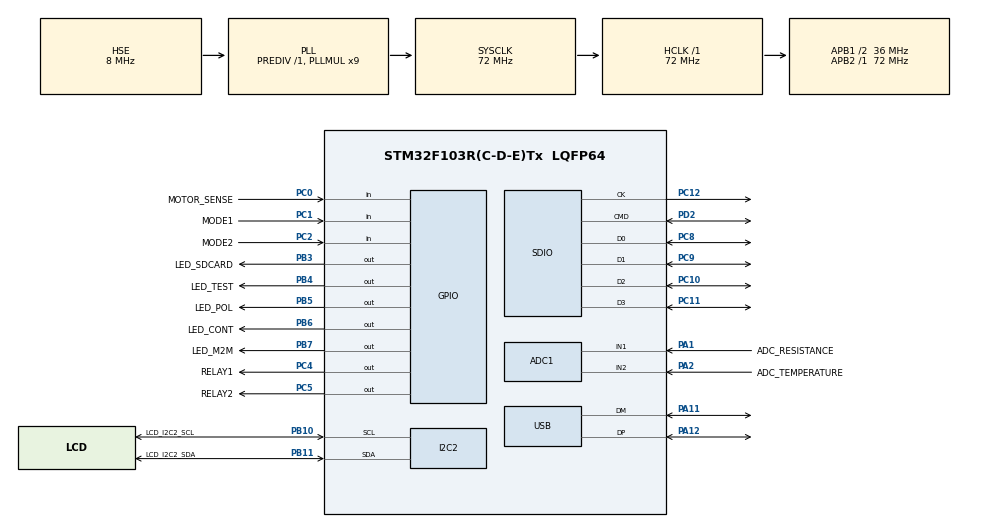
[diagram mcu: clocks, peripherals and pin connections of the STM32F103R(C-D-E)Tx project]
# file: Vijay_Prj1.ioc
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ADC1.Channel-23\#ChannelRegularConversion=ADC_CHANNEL_1
ADC1.ContinuousConvMode=DISABLE
ADC1.DataAlign=ADC_DATAALIGN_RIGHT
ADC1.DiscontinuousConvMode=DISABLE
ADC1.EnableAnalogWatchDog=false
ADC1.EnableRegularConversion=ENABLE
ADC1.ExternalTrigConv=ADC_SOFTWARE_START
ADC1.InjNumberOfConversion=0
ADC1.NbrOfConversion=1
ADC1.NbrOfConversionFlag=1
ADC1.Rank-23\#ChannelRegularConversion=1
ADC1.SamplingTime-23\#ChannelRegularConversion=ADC_SAMPLETIME_1CYCLE_5
ADC1.ScanConvMode=ADC_SCAN_DISABLE
ADC1.master=1
Mcu.Family=STM32F1
Mcu.Name=STM32F103R(C-D-E)Tx
Mcu.Package=LQFP64
NVIC.ADC1_2_IRQn=true\:0\:0\:false\:false\:true\:true
NVIC.PriorityGroup=NVIC_PRIORITYGROUP_4
NVIC.RTC_IRQn=true\:0\:0\:false\:false\:true\:true
NVIC.TIM3_IRQn=true\:0\:0\:false\:false\:true\:true
NVIC.USB_LP_CAN1_RX0_IRQn=true\:0\:0\:false\:false\:true\:false
PA1.GPIO_Label=ADC_RESISTANCE
PA1.Signal=ADCx_IN1
PA11.Mode=Device
PA11.Signal=USB_DM
PA12.Mode=Device
PA12.Signal=USB_DP
PA13.Mode=Serial_Wire
PA13.Signal=SYS_JTMS-SWDIO
PA14.Mode=Serial_Wire
PA14.Signal=SYS_JTCK-SWCLK
PA2.GPIO_Label=ADC_TEMPERATURE
PA2.Signal=ADCx_IN2
PB10.GPIO_Label=LCD_I2C2_SCL
PB10.Mode=I2C
PB10.Signal=I2C2_SCL
PB11.GPIO_Label=LCD_I2C2_SDA
PB11.Mode=I2C
PB11.Signal=I2C2_SDA
PB3.GPIO_Label=LED_SDCARD
PB3.GPIO_PuPd=GPIO_PULLDOWN
PB3.Signal=GPIO_Output
PB4.GPIO_Label=LED_TEST
PB4.GPIO_PuPd=GPIO_PULLDOWN
PB4.Signal=GPIO_Output
PB5.GPIO_Label=LED_POL
PB5.GPIO_PuPd=GPIO_PULLDOWN
PB5.Signal=GPIO_Output
PB6.GPIO_Label=LED_CONT
PB6.GPIO_PuPd=GPIO_PULLDOWN
PB6.GPIO_Speed=GPIO_SPEED_FREQ_MEDIUM
PB6.Signal=GPIO_Output
PB7.GPIO_Label=LED_M2M
PB7.GPIO_PuPd=GPIO_PULLDOWN
PB7.GPIO_Speed=GPIO_SPEED_FREQ_MEDIUM
PB7.Signal=GPIO_Output
PC0.GPIO_Label=MOTOR_SENSE
PC0.Signal=GPIO_Input
PC1.GPIO_Label=MODE1
PC1.Signal=GPIO_Input
PC10.Mode=SD_4_bits_Wide_bus
PC10.Signal=SDIO_D2
PC11.Mode=SD_4_bits_Wide_bus
PC11.Signal=SDIO_D3
PC12.Mode=SD_4_bits_Wide_bus
PC12.Signal=SDIO_CK
PC14-OSC32_IN.Mode=LSE-External-Oscillator
PC14-OSC32_IN.Signal=RCC_OSC32_IN
PC15-OSC32_OUT.Mode=LSE-External-Oscillator
PC15-OSC32_OUT.Signal=RCC_OSC32_OUT
PC2.GPIO_Label=MODE2
PC2.Signal=GPIO_Input
PC4.GPIO_Label=RELAY1
PC4.GPIO_PuPd=GPIO_PULLDOWN
PC4.GPIO_Speed=GPIO_SPEED_FREQ_MEDIUM
PC4.Signal=GPIO_Output
PC5.GPIO_Label=RELAY2
PC5.GPIO_PuPd=GPIO_PULLDOWN
PC5.GPIO_Speed=GPIO_SPEED_FREQ_MEDIUM
PC5.Signal=GPIO_Output
PC8.Mode=SD_4_bits_Wide_bus
PC8.Signal=SDIO_D0
PC9.Mode=SD_4_bits_Wide_bus
PC9.Signal=SDIO_D1
PD0-OSC_IN.Mode=HSE-External-Oscillator
PD0-OSC_IN.Signal=RCC_OSC_IN
PD1-OSC_OUT.Mode=HSE-External-Oscillator
PD1-OSC_OUT.Signal=RCC_OSC_OUT
PD2.Mode=SD_4_bits_Wide_bus
PD2.Signal=SDIO_CMD
ProjectManager.HeapSize=0x200
ProjectManager.StackSize=0x400
ProjectManager.TargetToolchain=MDK-ARM V5
RCC.ADCPresc=RCC_ADCPCLK2_DIV6
RCC.AHBFreq_Value=72000000
RCC.APB1CLKDivider=RCC_HCLK_DIV2
RCC.APB1Freq_Value=36000000
RCC.APB1TimFreq_Value=72000000
RCC.APB2Freq_Value=72000000
RCC.APB2TimFreq_Value=72000000
RCC.HCLKFreq_Value=72000000
RCC.PLLMUL=RCC_PLL_MUL9
RCC.RTCClockSelection=RCC_RTCCLKSOURCE_LSE
RCC.SYSCLKFreq_VALUE=72000000
RCC.SYSCLKSource=RCC_SYSCLKSOURCE_PLLCLK
RCC.USBFreq_Value=48000000
RCC.USBPrescaler=RCC_USBCLKSOURCE_PLL_DIV1_5
RTC.Seconds=1
SDIO.ClockDiv=10
SH.ADCx_IN1.0=ADC1_IN1,IN1
SH.ADCx_IN2.0=ADC1_IN2,IN2
TIM2.Period=5000
TIM2.Prescaler=720-1
TIM3.Period=1000-1
TIM3.Prescaler=7200-1
USB_DEVICE.CLASS_NAME_FS=CDC
USB_DEVICE.VirtualMode=Cdc
USB_DEVICE.VirtualModeFS=Cdc_FS
VP_FATFS_VS_SDIO.Mode=SDIO
VP_RTC_No_RTC_Output.Mode=RTC_OUT_NO
VP_RTC_VS_RTC_Activate.Mode=RTC_Enabled
VP_TIM2_VS_ClockSourceINT.Mode=Internal
VP_TIM3_VS_ClockSourceINT.Mode=Internal
VP_USB_DEVICE_VS_USB_DEVICE_CDC_FS.Mode=CDC_FS
board=custom

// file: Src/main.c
/**
  ******************************************************************************
  * @file           : main.c
  * @brief          : Main program body
  ******************************************************************************
  * This notice applies to any and all portions of this file
  * that are not between comment pairs USER CODE BEGIN and
  * USER CODE END. Other portions of this file, whether
  * inserted by the user or by software development tools
  * are owned by their respective copyright owners.
  *
  * Copyright (c) 2019 STMicroelectronics International N.V.
  * All rights reserved.
  *
  * Redistribution and use in source and binary forms, with or without
  * modification, are permitted, provided that the following conditions are met:
  *
  * 1. Redistribution of source code must retain the above copyright notice,
  *    this list of conditions and the following disclaimer.
  * 2. Redistributions in binary form must reproduce the above copyright notice,
  *    this list of conditions and the following disclaimer in the documentation
  *    and/or other materials provided with the distribution.
  * 3. Neither the name of STMicroelectronics nor the names of other
  *    contributors to this software may be used to endorse or promote products
  *    derived from this software without specific written permission.
  * 4. This software, including modifications and/or derivative works of this
  *    software, must execute solely and exclusively on microcontroller or
  *    microprocessor devices manufactured by or for STMicroelectronics.
  * 5. Redistribution and use of this software other than as permitted under
  *    this license is void and will automatically terminate your rights under
  *    this license.
  *
  * THIS SOFTWARE IS PROVIDED BY STMICROELECTRONICS AND CONTRIBUTORS "AS IS"
  * AND ANY EXPRESS, IMPLIED OR STATUTORY WARRANTIES, INCLUDING, BUT NOT
  * LIMITED TO, THE IMPLIED WARRANTIES OF MERCHANTABILITY, FITNESS FOR A
  * PARTICULAR PURPOSE AND NON-INFRINGEMENT OF THIRD PARTY INTELLECTUAL PROPERTY
  * RIGHTS ARE DISCLAIMED TO THE FULLEST EXTENT PERMITTED BY LAW. IN NO EVENT
  * SHALL STMICROELECTRONICS OR CONTRIBUTORS BE LIABLE FOR ANY DIRECT, INDIRECT,
  * INCIDENTAL, SPECIAL, EXEMPLARY, OR CONSEQUENTIAL DAMAGES (INCLUDING, BUT NOT
  * LIMITED TO, PROCUREMENT OF SUBSTITUTE GOODS OR SERVICES; LOSS OF USE, DATA,
  * OR PROFITS; OR BUSINESS INTERRUPTION) HOWEVER CAUSED AND ON ANY THEORY OF
  * LIABILITY, WHETHER IN CONTRACT, STRICT LIABILITY, OR TORT (INCLUDING
  * NEGLIGENCE OR OTHERWISE) ARISING IN ANY WAY OUT OF THE USE OF THIS SOFTWARE,
  * EVEN IF ADVISED OF THE POSSIBILITY OF SUCH DAMAGE.
  *
  ******************************************************************************
  */
#include "main.h"
#include "stm32f1xx_hal.h"
#include "fatfs.h"
#include "usb_device.h"

/* USER CODE BEGIN Includes */
#include "Module.h"
#include "USB_Module.h"
#include "ADC.h"
#include "UI.h"
#include "Key.h"
#include "RTC.h"
#include "Power.h"
#include "Temperature.h"
#include "SDCard.h"
#include "Utility.h"

// first commit1
// Second commit2
/* USER CODE END Includes */

ADC_HandleTypeDef hadc1;

I2C_HandleTypeDef hi2c2;

RTC_HandleTypeDef hrtc;

SD_HandleTypeDef hsd;

TIM_HandleTypeDef htim2;
TIM_HandleTypeDef htim3;

/* USER CODE BEGIN PV */
/* Private variables ---------------------------------------------------------*/

/* USER CODE END PV */

void SystemClock_Config(void);
static void MX_GPIO_Init(void);
static void MX_ADC1_Init(void);
static void MX_I2C2_Init(void);
static void MX_SDIO_SD_Init(void);
static void MX_RTC_Init(void);
static void MX_TIM2_Init(void);
static void MX_TIM3_Init(void);

/* USER CODE BEGIN PFP */
/* Private function prototypes -----------------------------------------------*/
void Main_SystemInitialize(void);
/* USER CODE END PFP */

int main(void)
{

  /* MCU Configuration----------------------------------------------------------*/

  /* Reset of all peripherals, Initializes the Flash interface and the Systick. */
  HAL_Init();

  /* Configure the system clock */
  SystemClock_Config();

  /* Initialize all configured peripherals */
  MX_GPIO_Init();
  MX_USB_DEVICE_Init();
  MX_ADC1_Init();
  MX_I2C2_Init();
  MX_SDIO_SD_Init();
  MX_FATFS_Init();
  MX_RTC_Init();
  MX_TIM2_Init();
  MX_TIM3_Init();
  /* USER CODE BEGIN 2 */
  	Main_SystemInitialize();
  /* USER CODE END 2 */

  /* Infinite loop */
  /* USER CODE BEGIN WHILE */
	while (1)
	{
		Module_HandleSignal();
  /* USER CODE END WHILE */

  /* USER CODE BEGIN 3 */
		RTC_TimerHandler();
		RTC_TimeOutHandler();
		ADCif_NewEventHandler();
		Keyif_NewEventHandler();

		USB_EventHandler();

	}
  /* USER CODE END 3 */

}

void SystemClock_Config(void)
{

  RCC_OscInitTypeDef RCC_OscInitStruct;
  RCC_ClkInitTypeDef RCC_ClkInitStruct;
  RCC_PeriphCLKInitTypeDef PeriphClkInit;

    /**Initializes the CPU, AHB and APB busses clocks
    */
  RCC_OscInitStruct.OscillatorType = RCC_OSCILLATORTYPE_HSE|RCC_OSCILLATORTYPE_LSE;
  RCC_OscInitStruct.HSEState = RCC_HSE_ON;
  RCC_OscInitStruct.HSEPredivValue = RCC_HSE_PREDIV_DIV1;
  RCC_OscInitStruct.LSEState = RCC_LSE_ON;
  RCC_OscInitStruct.HSIState = RCC_HSI_ON;
  RCC_OscInitStruct.PLL.PLLState = RCC_PLL_ON;
  RCC_OscInitStruct.PLL.PLLSource = RCC_PLLSOURCE_HSE;
  RCC_OscInitStruct.PLL.PLLMUL = RCC_PLL_MUL9;
  if (HAL_RCC_OscConfig(&RCC_OscInitStruct) != HAL_OK)
  {
    _Error_Handler(__FILE__, __LINE__);
  }

    /**Initializes the CPU, AHB and APB busses clocks
    */
  RCC_ClkInitStruct.ClockType = RCC_CLOCKTYPE_HCLK|RCC_CLOCKTYPE_SYSCLK
                              |RCC_CLOCKTYPE_PCLK1|RCC_CLOCKTYPE_PCLK2;
  RCC_ClkInitStruct.SYSCLKSource = RCC_SYSCLKSOURCE_PLLCLK;
  RCC_ClkInitStruct.AHBCLKDivider = RCC_SYSCLK_DIV1;
  RCC_ClkInitStruct.APB1CLKDivider = RCC_HCLK_DIV2;
  RCC_ClkInitStruct.APB2CLKDivider = RCC_HCLK_DIV1;

  if (HAL_RCC_ClockConfig(&RCC_ClkInitStruct, FLASH_LATENCY_2) != HAL_OK)
  {
    _Error_Handler(__FILE__, __LINE__);
  }

  PeriphClkInit.PeriphClockSelection = RCC_PERIPHCLK_RTC|RCC_PERIPHCLK_ADC
                              |RCC_PERIPHCLK_USB;
  PeriphClkInit.RTCClockSelection = RCC_RTCCLKSOURCE_LSE;
  PeriphClkInit.AdcClockSelection = RCC_ADCPCLK2_DIV6;
  PeriphClkInit.UsbClockSelection = RCC_USBCLKSOURCE_PLL_DIV1_5;
  if (HAL_RCCEx_PeriphCLKConfig(&PeriphClkInit) != HAL_OK)
  {
    _Error_Handler(__FILE__, __LINE__);
  }

    /**Configure the Systick interrupt time
    */
  HAL_SYSTICK_Config(HAL_RCC_GetHCLKFreq()/1000);

    /**Configure the Systick
    */
  HAL_SYSTICK_CLKSourceConfig(SYSTICK_CLKSOURCE_HCLK);

  /* SysTick_IRQn interrupt configuration */
  HAL_NVIC_SetPriority(SysTick_IRQn, 0, 0);
}

/* ADC1 init function */
static void MX_ADC1_Init(void)
{

  ADC_ChannelConfTypeDef sConfig;

    /**Common config
    */
  hadc1.Instance = ADC1;
  hadc1.Init.ScanConvMode = ADC_SCAN_DISABLE;
  hadc1.Init.ContinuousConvMode = DISABLE;
  hadc1.Init.DiscontinuousConvMode = DISABLE;
  hadc1.Init.ExternalTrigConv = ADC_SOFTWARE_START;
  hadc1.Init.DataAlign = ADC_DATAALIGN_RIGHT;
  hadc1.Init.NbrOfConversion = 1;
  if (HAL_ADC_Init(&hadc1) != HAL_OK)
  {
    _Error_Handler(__FILE__, __LINE__);
  }

    /**Configure Regular Channel
    */
  sConfig.Channel = ADC_CHANNEL_1;
  sConfig.Rank = ADC_REGULAR_RANK_1;
  sConfig.SamplingTime = ADC_SAMPLETIME_1CYCLE_5;
  if (HAL_ADC_ConfigChannel(&hadc1, &sConfig) != HAL_OK)
  {
    _Error_Handler(__FILE__, __LINE__);
  }

}

/* I2C2 init function */
static void MX_I2C2_Init(void)
{

  hi2c2.Instance = I2C2;
  hi2c2.Init.ClockSpeed = 100000;
  hi2c2.Init.DutyCycle = I2C_DUTYCYCLE_2;
  hi2c2.Init.OwnAddress1 = 0;
  hi2c2.Init.AddressingMode = I2C_ADDRESSINGMODE_7BIT;
  hi2c2.Init.DualAddressMode = I2C_DUALADDRESS_DISABLE;
  hi2c2.Init.OwnAddress2 = 0;
  hi2c2.Init.GeneralCallMode = I2C_GENERALCALL_DISABLE;
  hi2c2.Init.NoStretchMode = I2C_NOSTRETCH_DISABLE;
  if (HAL_I2C_Init(&hi2c2) != HAL_OK)
  {
    _Error_Handler(__FILE__, __LINE__);
  }

}

/* RTC init function */
static void MX_RTC_Init(void)
{

  RTC_TimeTypeDef sTime;
  RTC_DateTypeDef DateToUpdate;

    /**Initialize RTC Only
    */
  hrtc.Instance = RTC;
  hrtc.Init.AsynchPrediv = RTC_AUTO_1_SECOND;
  hrtc.Init.OutPut = RTC_OUTPUTSOURCE_NONE;
  if (HAL_RTC_Init(&hrtc) != HAL_OK)
  {
    _Error_Handler(__FILE__, __LINE__);
  }

    /**Initialize RTC and set the Time and Date
    */
  sTime.Hours = 0x0;
  sTime.Minutes = 0x0;
  sTime.Seconds = 0x1;

  if (HAL_RTC_SetTime(&hrtc, &sTime, RTC_FORMAT_BCD) != HAL_OK)
  {
    _Error_Handler(__FILE__, __LINE__);
  }

  DateToUpdate.WeekDay = RTC_WEEKDAY_MONDAY;
  DateToUpdate.Month = RTC_MONTH_JANUARY;
  DateToUpdate.Date = 0x1;
  DateToUpdate.Year = 0x0;

  if (HAL_RTC_SetDate(&hrtc, &DateToUpdate, RTC_FORMAT_BCD) != HAL_OK)
  {
    _Error_Handler(__FILE__, __LINE__);
  }

}

/* SDIO init function */
static void MX_SDIO_SD_Init(void)
{

  hsd.Instance = SDIO;
  hsd.Init.ClockEdge = SDIO_CLOCK_EDGE_RISING;
  hsd.Init.ClockBypass = SDIO_CLOCK_BYPASS_DISABLE;
  hsd.Init.ClockPowerSave = SDIO_CLOCK_POWER_SAVE_DISABLE;
  hsd.Init.BusWide = SDIO_BUS_WIDE_1B;
  hsd.Init.HardwareFlowControl = SDIO_HARDWARE_FLOW_CONTROL_DISABLE;
  hsd.Init.ClockDiv = 10;

}

/* TIM2 init function */
static void MX_TIM2_Init(void)
{

  TIM_ClockConfigTypeDef sClockSourceConfig;
  TIM_MasterConfigTypeDef sMasterConfig;

  htim2.Instance = TIM2;
  htim2.Init.Prescaler = 720-1;
  htim2.Init.CounterMode = TIM_COUNTERMODE_UP;
  htim2.Init.Period = 5000;
  htim2.Init.ClockDivision = TIM_CLOCKDIVISION_DIV1;
  htim2.Init.AutoReloadPreload = TIM_AUTORELOAD_PRELOAD_DISABLE;
  if (HAL_TIM_Base_Init(&htim2) != HAL_OK)
  {
    _Error_Handler(__FILE__, __LINE__);
  }

  sClockSourceConfig.ClockSource = TIM_CLOCKSOURCE_INTERNAL;
  if (HAL_TIM_ConfigClockSource(&htim2, &sClockSourceConfig) != HAL_OK)
  {
    _Error_Handler(__FILE__, __LINE__);
  }

  sMasterConfig.MasterOutputTrigger = TIM_TRGO_RESET;
  sMasterConfig.MasterSlaveMode = TIM_MASTERSLAVEMODE_DISABLE;
  if (HAL_TIMEx_MasterConfigSynchronization(&htim2, &sMasterConfig) != HAL_OK)
  {
    _Error_Handler(__FILE__, __LINE__);
  }

}

/* TIM3 init function */
static void MX_TIM3_Init(void)
{

  TIM_ClockConfigTypeDef sClockSourceConfig;
  TIM_MasterConfigTypeDef sMasterConfig;

  htim3.Instance = TIM3;
  htim3.Init.Prescaler = 7200-1;
  htim3.Init.CounterMode = TIM_COUNTERMODE_UP;
  htim3.Init.Period = 1000-1;
  htim3.Init.ClockDivision = TIM_CLOCKDIVISION_DIV1;
  htim3.Init.AutoReloadPreload = TIM_AUTORELOAD_PRELOAD_DISABLE;
  if (HAL_TIM_Base_Init(&htim3) != HAL_OK)
  {
    _Error_Handler(__FILE__, __LINE__);
  }

  sClockSourceConfig.ClockSource = TIM_CLOCKSOURCE_INTERNAL;
  if (HAL_TIM_ConfigClockSource(&htim3, &sClockSourceConfig) != HAL_OK)
  {
    _Error_Handler(__FILE__, __LINE__);
  }

  sMasterConfig.MasterOutputTrigger = TIM_TRGO_RESET;
  sMasterConfig.MasterSlaveMode = TIM_MASTERSLAVEMODE_DISABLE;
  if (HAL_TIMEx_MasterConfigSynchronization(&htim3, &sMasterConfig) != HAL_OK)
  {
    _Error_Handler(__FILE__, __LINE__);
  }

}

/** Configure pins as
        * Analog
        * Input
        * Output
        * EVENT_OUT
        * EXTI
*/
static void MX_GPIO_Init(void)
{

  GPIO_InitTypeDef GPIO_InitStruct;

  /* GPIO Ports Clock Enable */
  __HAL_RCC_GPIOC_CLK_ENABLE();
  __HAL_RCC_GPIOD_CLK_ENABLE();
  __HAL_RCC_GPIOA_CLK_ENABLE();
  __HAL_RCC_GPIOB_CLK_ENABLE();

  /*Configure GPIO pin Output Level */
  HAL_GPIO_WritePin(GPIOC, RELAY1_Pin|RELAY2_Pin, GPIO_PIN_RESET);

  /*Configure GPIO pin Output Level */
  HAL_GPIO_WritePin(GPIOB, LED_SDCARD_Pin|LED_TEST_Pin|LED_POL_Pin|LED_CONT_Pin
                          |LED_M2M_Pin, GPIO_PIN_RESET);

  /*Configure GPIO pins : MOTOR_SENSE_Pin MODE1_Pin MODE2_Pin */
  GPIO_InitStruct.Pin = MOTOR_SENSE_Pin|MODE1_Pin|MODE2_Pin;
  GPIO_InitStruct.Mode = GPIO_MODE_INPUT;
  GPIO_InitStruct.Pull = GPIO_NOPULL;
  HAL_GPIO_Init(GPIOC, &GPIO_InitStruct);

  /*Configure GPIO pins : RELAY1_Pin RELAY2_Pin */
  GPIO_InitStruct.Pin = RELAY1_Pin|RELAY2_Pin;
  GPIO_InitStruct.Mode = GPIO_MODE_OUTPUT_PP;
  GPIO_InitStruct.Pull = GPIO_PULLDOWN;
  GPIO_InitStruct.Speed = GPIO_SPEED_FREQ_MEDIUM;
  HAL_GPIO_Init(GPIOC, &GPIO_InitStruct);

  /*Configure GPIO pins : LED_SDCARD_Pin LED_TEST_Pin LED_POL_Pin */
  GPIO_InitStruct.Pin = LED_SDCARD_Pin|LED_TEST_Pin|LED_POL_Pin;
  GPIO_InitStruct.Mode = GPIO_MODE_OUTPUT_PP;
  GPIO_InitStruct.Pull = GPIO_PULLDOWN;
  GPIO_InitStruct.Speed = GPIO_SPEED_FREQ_LOW;
  HAL_GPIO_Init(GPIOB, &GPIO_InitStruct);

  /*Configure GPIO pins : LED_CONT_Pin LED_M2M_Pin */
  GPIO_InitStruct.Pin = LED_CONT_Pin|LED_M2M_Pin;
  GPIO_InitStruct.Mode = GPIO_MODE_OUTPUT_PP;
  GPIO_InitStruct.Pull = GPIO_PULLDOWN;
  GPIO_InitStruct.Speed = GPIO_SPEED_FREQ_MEDIUM;
  HAL_GPIO_Init(GPIOB, &GPIO_InitStruct);

}

/* USER CODE BEGIN 4 */
/********************************************************************
 * Function:		Main_SystemInitialize()
 *
 * PreCondition:	None
 *
 * Input:			None
 *
 * Output:		None
 *
 * Side Effects:	None
 *
 * Overview:		Initialize the whole system.
 *
 * Note:			None
 *******************************************************************/
void Main_SystemInitialize(void)
{
	Module_InitSignalQueue();

	RTC_Initialize();

	Key_InitializeModule();

	UI_InitializeModule();

	ADC_Initialize();

	Power_Initialize();

	//TS_Initialize();

	SDCard_InitializeModule();
}

void HAL_TIM_PeriodElapsedCallback(TIM_HandleTypeDef *htim)
{
	if(htim->Instance == TIM3)
	{
		UIif_HandleFastBlinkLEDTimeout();
	}
}
/* USER CODE END 4 */

void _Error_Handler(char *file, int line)
{
  /* USER CODE BEGIN Error_Handler_Debug */
  /* User can add his own implementation to report the HAL error return state */
  	CHAR *pString;
  	CHAR yLength;

	yLength = strlen(file) + 50;

	pString = (CHAR*)MALLOC(yLength);

	memset(pString, 0x00, yLength);

	strcpy(pString, "Error at file ");
	strcat(pString, file);
	strcat(pString, " and Line ");

	ItoStr(line, &pString[strlen(pString)], 0);

	USB_PrintMsg(pString);
	FREE(pString);
  /*while(1)
  {
  }*/
  /* USER CODE END Error_Handler_Debug */
}

/************************ (C) COPYRIGHT STMicroelectronics *****END OF FILE****/
